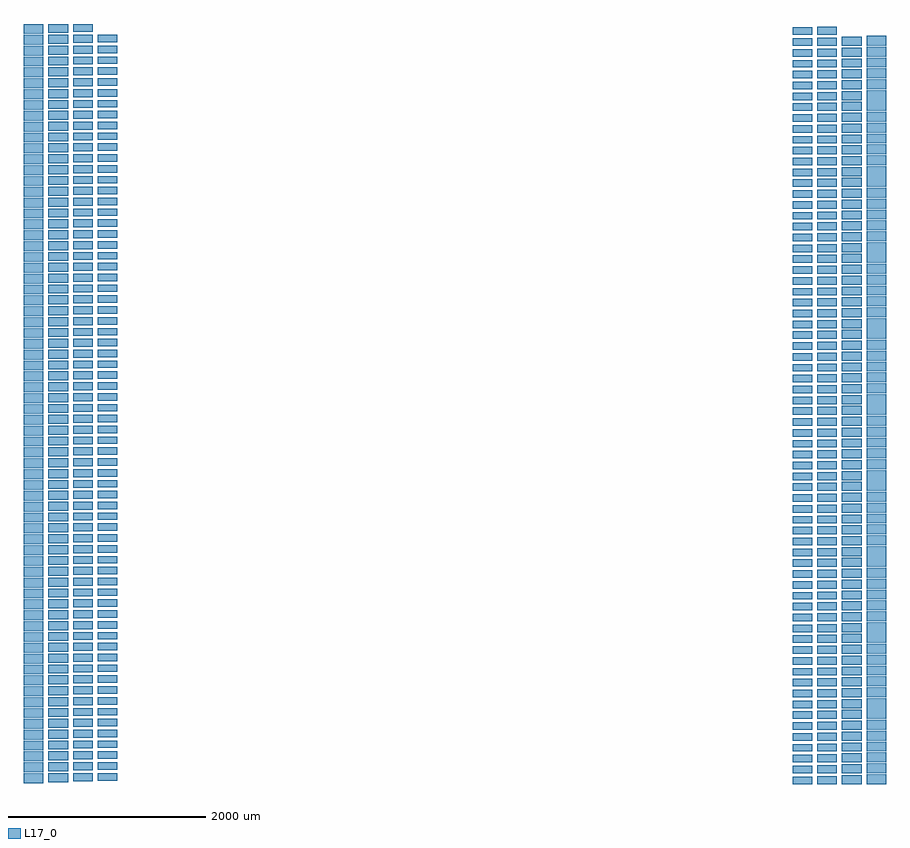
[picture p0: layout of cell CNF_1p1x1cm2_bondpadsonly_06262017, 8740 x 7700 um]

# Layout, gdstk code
import gdstk
lib = gdstk.Library(unit=1e-6, precision=1e-09)
def R(c, l, rs):  # rectangles x0, y0, x1, y1
    for r in rs: c.add(gdstk.rectangle(r[:2], r[2:], *l))
def A(c, l, x, y, w, h, nx, ny, dx, dy):  # array of equal rectangles
    R(c, l, [(x+i*dx, y+j*dy, x+i*dx+w, y+j*dy+h) for i in range(nx) for j in range(ny)])
L17_0 = (17, 0)

cnf_1p1x1cm2_bondpadsonl = lib.new_cell('CNF_1p1x1cm2_bondpadsonly_06262017')
A(cnf_1p1x1cm2_bondpadsonl, L17_0, 3420, -3850, 200, 75, 1, 70, 0, 110)
A(cnf_1p1x1cm2_bondpadsonl, L17_0, 3670, -3850, 200, 80, 1, 70, 0, 110)
A(cnf_1p1x1cm2_bondpadsonl, L17_0, 3920, -3850, 200, 90, 1, 69, 0, 110)
A(cnf_1p1x1cm2_bondpadsonl, L17_0, 4170, -3850, 200, 100, 1, 69, 0, 110)
A(cnf_1p1x1cm2_bondpadsonl, L17_0, -4370, -3840, 200, 100, 1, 70, 0, 110)
A(cnf_1p1x1cm2_bondpadsonl, L17_0, -4120, -3830, 200, 90, 1, 70, 0, 110)
A(cnf_1p1x1cm2_bondpadsonl, L17_0, -3870, -3820, 200, 80, 1, 70, 0, 110)
A(cnf_1p1x1cm2_bondpadsonl, L17_0, -3620, -3815, 200, 75, 1, 69, 0, 110)

lib.write_gds('CNF_1p1x1cm2_bondpadsonly_06262017.gds')
